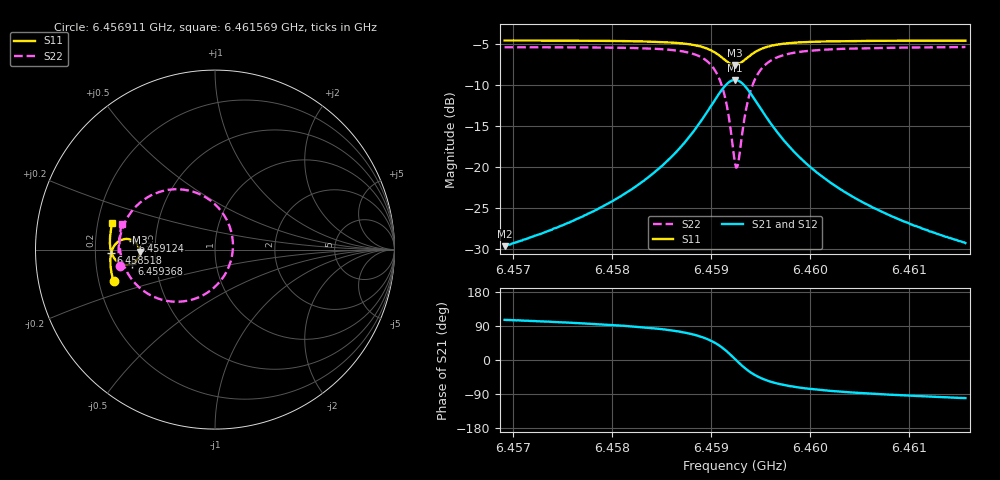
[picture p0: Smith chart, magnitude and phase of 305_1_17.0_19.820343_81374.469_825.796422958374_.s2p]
#  HZ  S  RI  R  50.00
! Rohde & Schwarz Vector Network Analyzer
! Rohde-Schwarz,ZNB20-2Port,1311601062101988,3.16
! Created: UTC 3/20/2024, 11:05:46 PM
! freq[Hz]  re:S11  im:S11  re:S21  im:S21  re:S12  im:S12  re:S22  im:S22
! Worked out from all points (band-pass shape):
!   401 points, 6.456911 GHz to 6.461569 GHz, reference 50 ohm
!   highest |S21| = -9.36 dB at 6.45924 GHz (marker M1); lowest = -29.6 dB at 6.456911 GHz (marker M2)
!   |S21| within 3 dB of the highest: 6.459007 GHz to 6.459473 GHz (465.9 kHz wide, 0.00721 % of centre)
!   lowest |S11| = -7.5 dB at 6.45924 GHz (marker M3), VSWR 2.45, Z = 20.4 - j0.635 ohm
!   |S11| at or under -10 dB: nowhere
!   |S22| runs from -20.0 to -5.4 dB; largest |S21 - S12| = 0.013
!   S11 on the Smith chart (normalised r, x): 6.456911 GHz: 0.26, -0.14; 6.458518 GHz: 0.27, -0.02; 6.459124 GHz: 0.37, +0.05; 6.459368 GHz: 0.37, -0.07; 6.461569 GHz: 0.26, +0.12
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6.4569114e9  -0.5649 -0.1776  -0.00907 0.0318  -0.00736 0.0319  -0.5307 -0.0894
6.4576916e9  -0.5798 -0.1096  -0.00591 0.0496  -0.00343 0.049  -0.5372 0.000563
6.4581108e9  -0.5831 -0.0679  -0.000492 0.0682  0.00267 0.0668  -0.5301 0.0657
6.4584717e9  -0.5797 -0.0253  0.0133 0.0974  0.0174 0.0947  -0.5053 0.1449
6.4585183e9  -0.5783 -0.0188  0.0168 0.1028  0.0206 0.0999  -0.4991 0.1579
6.4587279e9  -0.5664 0.013  0.0423 0.1341  0.0465 0.1295  -0.4511 0.2289
6.4588793e9  -0.5453 0.0395  0.0843 0.1644  0.0877 0.1579  -0.3739 0.2925
6.4590307e9  -0.4997 0.0592  0.1751 0.1835  0.1762 0.176  -0.2087 0.3361
6.4591238e9  -0.4553 0.0494  0.264 0.1529  0.2644 0.1469  -0.0451 0.2872
6.4591704e9  -0.4343 0.0309  0.3073 0.1106  0.3085 0.1053  0.0364 0.2123
6.4592403e9  -0.4194 -0.0128  0.3401 0.015  0.3437 0.00806  0.0999 0.0358
6.4592519e9  -0.4199 -0.0208  0.34 -0.00249  0.3436 -0.0101  0.0995 0.00297
6.4592752e9  -0.4234 -0.0364  0.3345 -0.0366  0.3381 -0.0458  0.0886 -0.0615
6.4593334e9  -0.4438 -0.067  0.297 -0.1077  0.2982 -0.1199  0.0128 -0.1941
6.4593683e9  -0.4607 -0.0781  0.2652 -0.1362  0.2642 -0.1492  -0.0509 -0.2453
6.4594615e9  -0.5035 -0.0847  0.1818 -0.167  0.1758 -0.1783  -0.216 -0.2905
6.4596129e9  -0.547 -0.0645  0.0954 -0.1537  0.0871 -0.1598  -0.3801 -0.2424
6.4597759e9  -0.5682 -0.0369  0.0511 -0.1264  0.0436 -0.1292  -0.459 -0.1717
6.4600204e9  -0.581 -0.00135  0.0224 -0.0956  0.0165 -0.0963  -0.5061 -0.0907
6.4603581e9  -0.5856 0.0385  0.00668 -0.07  0.00265 -0.0696  -0.5271 -0.0145
6.4608006e9  -0.5838 0.0829  -0.00121 -0.0511  -0.00414 -0.0503  -0.5316 0.0551
6.4615691e9  -0.5715 0.1508  -0.00631 -0.034  -0.00803 -0.033  -0.5202 0.1448
